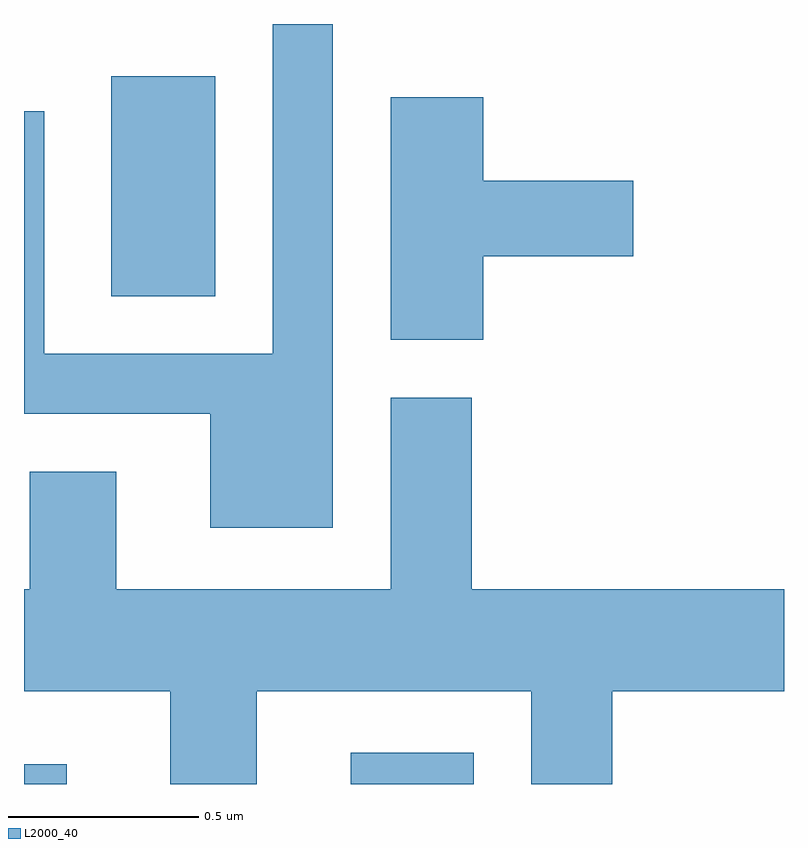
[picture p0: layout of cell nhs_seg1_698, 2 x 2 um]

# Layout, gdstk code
import gdstk
lib = gdstk.Library(unit=1e-6, precision=1e-09)
def R(c, l, rs):  # rectangles x0, y0, x1, y1
    for r in rs: c.add(gdstk.rectangle(r[:2], r[2:], *l))
def P(c, l, *ps):  # polygons
    for p in ps: c.add(gdstk.Polygon(p, *l))
L2000_40 = (2000, 40)

nhs_seg1_698 = lib.new_cell('nhs_seg1_698')
R(nhs_seg1_698, L2000_40, [(190.611,852.712,190.724,852.764), (191.471,852.712,191.794,852.794), (190.841,853.996,191.114,854.574)])
P(nhs_seg1_698, L2000_40, [(191.424,854.712),(191.266,854.712),(191.266,853.844),(190.664,853.844),(190.664,854.483),(190.611,854.483),(190.611,853.686),(191.101,853.686),(191.101,853.386),(191.424,853.386)],
  [(191.819,854.101),(192.214,854.101),(192.214,854.299),(191.819,854.299),(191.819,854.519),(191.576,854.519),(191.576,853.881),(191.819,853.881)],
  [(191.224,852.956),(191.946,852.956),(191.946,852.712),(192.159,852.712),(192.159,852.956),(192.611,852.956),(192.611,853.224),(191.789,853.224),(191.789,853.729),(191.576,853.729),(191.576,853.224),(190.854,853.224),(190.854,853.534),(190.626,853.534),(190.626,853.224),(190.611,853.224),(190.611,852.956),(190.996,852.956),(190.996,852.712),(191.224,852.712)])

lib.write_gds('nhs_seg1_698.gds')
